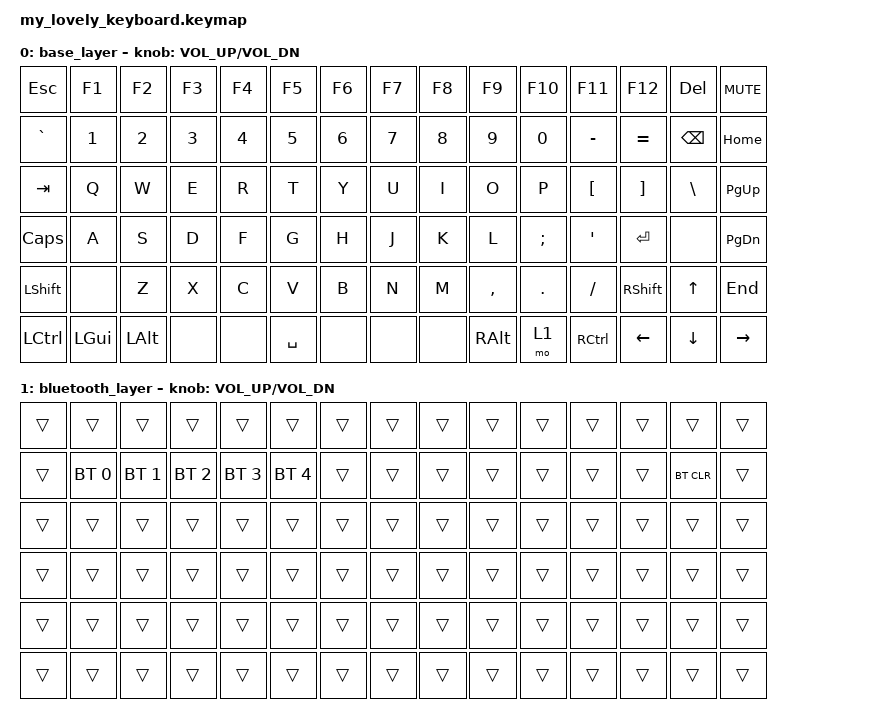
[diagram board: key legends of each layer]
#include <behaviors.dtsi>
#include <dt-bindings/zmk/keys.h>
#include <dt-bindings/zmk/bt.h>

/ {
    keymap {
        compatible = "zmk,keymap";

        base_layer {
            bindings = <
                &kp ESC  &kp F1  &kp F2  &kp F3  &kp F4  &kp F5  &kp F6  &kp F7  &kp F8  &kp F9  &kp F10  &kp F11  &kp F12  &kp DEL  &kp C_MUTE
                &kp GRAVE  &kp N1  &kp N2  &kp N3  &kp N4  &kp N5  &kp N6  &kp N7  &kp N8  &kp N9  &kp N0  &kp MINUS  &kp EQUAL  &kp BACKSPACE  &kp HOME
                &kp TAB  &kp Q  &kp W  &kp E  &kp R  &kp T  &kp Y  &kp U  &kp I  &kp O  &kp P  &kp LBKT  &kp RBKT  &kp BSLH  &kp PG_UP
                &kp CAPS  &kp A  &kp S  &kp D  &kp F  &kp G  &kp H  &kp J  &kp K  &kp L  &kp SEMI  &kp SQT  &kp ENTER  &none  &kp PG_DN
                &kp LSHFT  &none  &kp Z  &kp X  &kp C  &kp V  &kp B  &kp N  &kp M  &kp COMMA  &kp DOT  &kp FSLH  &kp RSHFT  &kp UP  &kp END
                &kp LCTRL  &kp LGUI  &kp LALT  &none  &none  &kp SPACE  &none  &none  &none  &kp RALT  &mo 1  &kp RCTRL  &kp LEFT  &kp DOWN  &kp RIGHT
            >;
            sensor-bindings = <&inc_dec_kp C_VOL_UP C_VOL_DN>;
        };

        bluetooth_layer {
            bindings = <
                &trans  &trans  &trans  &trans  &trans  &trans  &trans  &trans  &trans  &trans  &trans  &trans  &trans  &trans  &trans
                &trans  &bt BT_SEL 0  &bt BT_SEL 1  &bt BT_SEL 2  &bt BT_SEL 3  &bt BT_SEL 4  &trans  &trans  &trans  &trans  &trans  &trans  &trans  &bt BT_CLR  &trans
                &trans  &trans  &trans  &trans  &trans  &trans  &trans  &trans  &trans  &trans  &trans  &trans  &trans  &trans  &trans
                &trans  &trans  &trans  &trans  &trans  &trans  &trans  &trans  &trans  &trans  &trans  &trans  &trans  &trans  &trans
                &trans  &trans  &trans  &trans  &trans  &trans  &trans  &trans  &trans  &trans  &trans  &trans  &trans  &trans  &trans
                &trans  &trans  &trans  &trans  &trans  &trans  &trans  &trans  &trans  &trans  &trans  &trans  &trans  &trans  &trans
            >;
            sensor-bindings = <&inc_dec_kp C_VOL_UP C_VOL_DN>;
        };
    };
};
